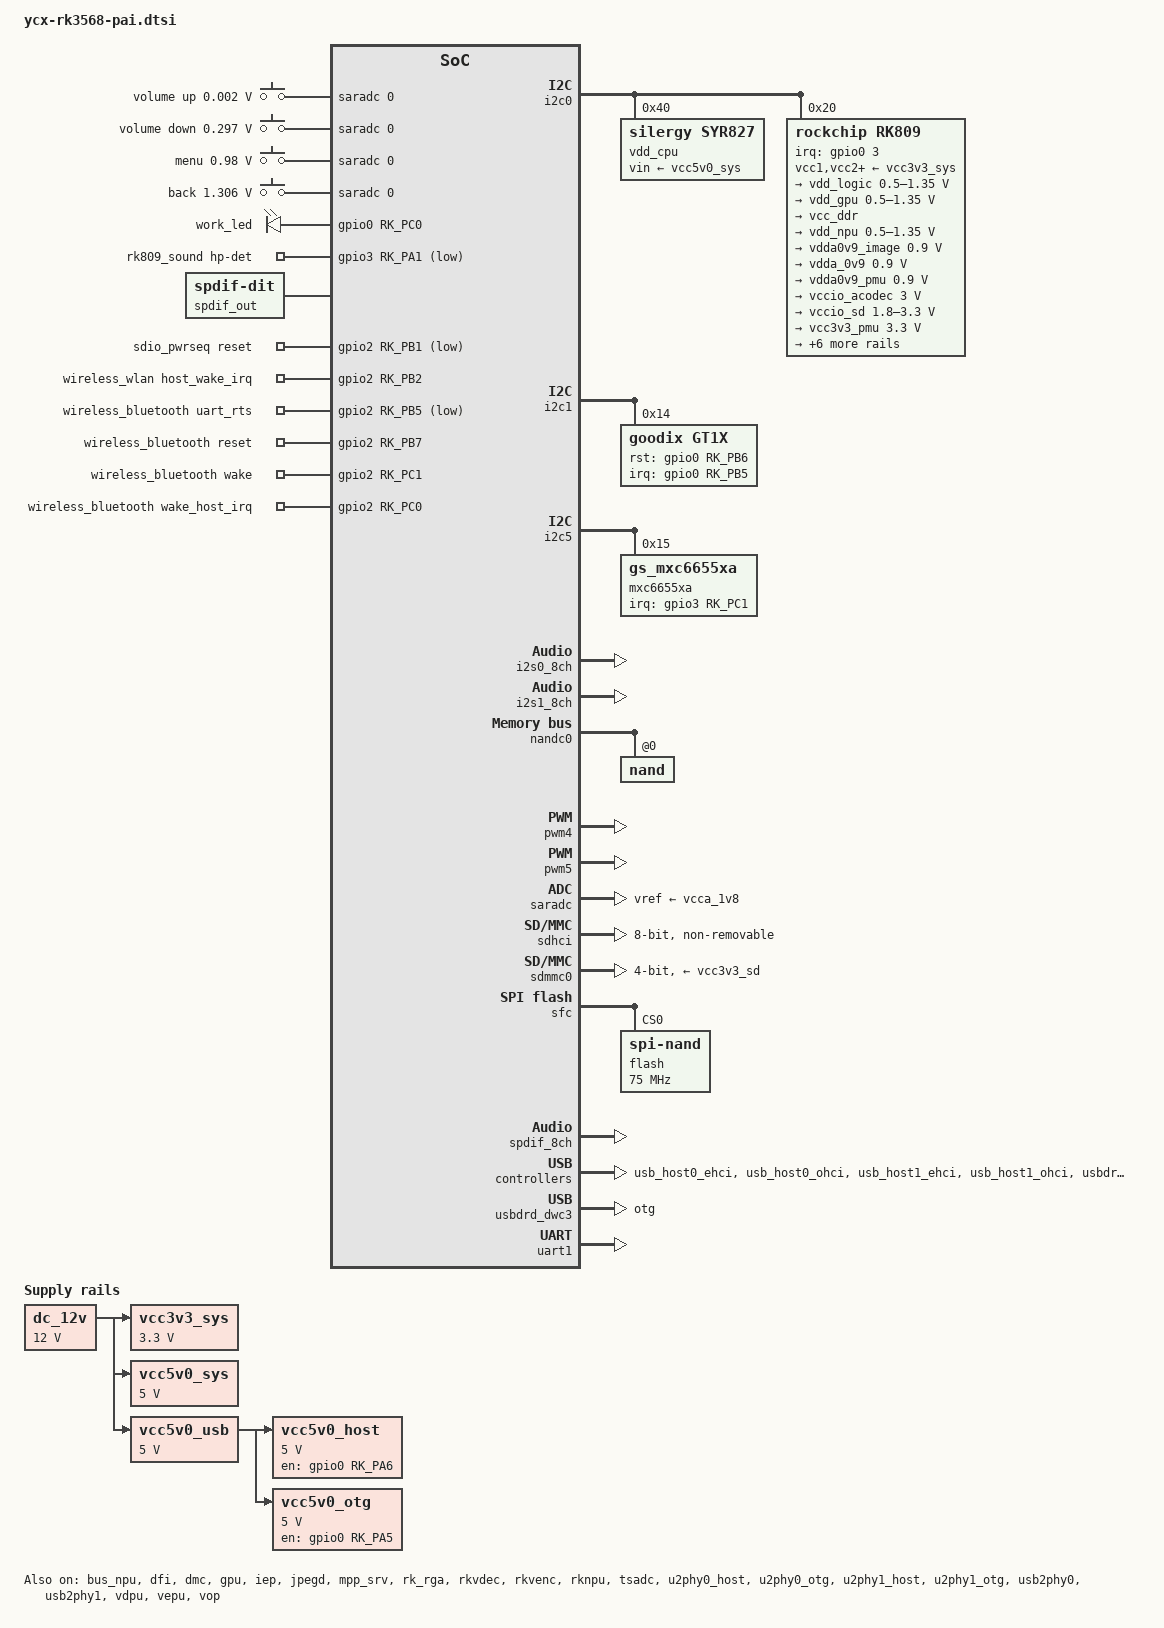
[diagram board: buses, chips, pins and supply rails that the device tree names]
// SPDX-License-Identifier: (GPL-2.0+ OR MIT)
/*
 * Copyright (c) 2020 Rockchip Electronics Co., Ltd.
 *
 */

#include <dt-bindings/gpio/gpio.h>
#include <dt-bindings/pwm/pwm.h>
#include <dt-bindings/pinctrl/rockchip.h>
#include <dt-bindings/input/rk-input.h>
#include <dt-bindings/display/drm_mipi_dsi.h>
#include <dt-bindings/sensor-dev.h>

/ {

	adc_keys: adc-keys {
		compatible = "adc-keys";
		io-channels = <&saradc 0>;
		io-channel-names = "buttons";
		keyup-threshold-microvolt = <1800000>;
		poll-interval = <100>;

		vol-up-key {
			label = "volume up";
			linux,code = <KEY_VOLUMEUP>;
			press-threshold-microvolt = <1750>;
		};

		vol-down-key {
			label = "volume down";
			linux,code = <KEY_VOLUMEDOWN>;
			press-threshold-microvolt = <297500>;
		};

		menu-key {
			label = "menu";
			linux,code = <KEY_MENU>;
			press-threshold-microvolt = <980000>;
		};

		back-key {
			label = "back";
			linux,code = <KEY_BACK>;
			press-threshold-microvolt = <1305500>;
		};
	};

	audiopwmout_diff: audiopwmout-diff {
		status = "disabled";
		compatible = "simple-audio-card";
		simple-audio-card,format = "i2s";
		simple-audio-card,name = "rockchip,audiopwmout-diff";
		simple-audio-card,mclk-fs = <256>;
		simple-audio-card,bitclock-master = <&master>;
		simple-audio-card,frame-master = <&master>;
		simple-audio-card,cpu {
			sound-dai = <&i2s3_2ch>;
		};
		master: simple-audio-card,codec {
			sound-dai = <&dig_acodec>;
		};
	};

	bt_sco: bt-sco {
		status = "disabled";
		compatible = "delta,dfbmcs320";
		#sound-dai-cells = <1>;
	};

	bt_sound: bt-sound {
		status = "disabled";
		compatible = "simple-audio-card";
		simple-audio-card,format = "dsp_a";
		simple-audio-card,bitclock-inversion;
		simple-audio-card,mclk-fs = <256>;
		simple-audio-card,name = "rockchip,bt";
		simple-audio-card,cpu {
			sound-dai = <&i2s3_2ch>;
		};
		simple-audio-card,codec {
			sound-dai = <&bt_sco 1>;
		};
	};

	dc_12v: dc-12v {
		compatible = "regulator-fixed";
		regulator-name = "dc_12v";
		regulator-always-on;
		regulator-boot-on;
		regulator-min-microvolt = <12000000>;
		regulator-max-microvolt = <12000000>;
	};

	hdmi_sound: hdmi-sound {
		compatible = "simple-audio-card";
		simple-audio-card,format = "i2s";
		simple-audio-card,mclk-fs = <128>;
		simple-audio-card,name = "rockchip,hdmi";
		status = "disabled";

		simple-audio-card,cpu {
				sound-dai = <&i2s0_8ch>;
		};
		simple-audio-card,codec {
				sound-dai = <&hdmi>;
		};
	};

	leds: leds {
		compatible = "gpio-leds";
		work_led: work {
			gpios = <&gpio0 RK_PC0 GPIO_ACTIVE_HIGH>;
			linux,default-trigger = "heartbeat";
		};
	};

	pdmics: dummy-codec {
		status = "disabled";
		compatible = "rockchip,dummy-codec";
		#sound-dai-cells = <0>;
	};

	pdm_mic_array: pdm-mic-array {
		status = "disabled";
		compatible = "simple-audio-card";
		simple-audio-card,name = "rockchip,pdm-mic-array";
		simple-audio-card,cpu {
			sound-dai = <&pdm>;
		};
		simple-audio-card,codec {
			sound-dai = <&pdmics>;
		};
	};

	rk809_sound: rk809-sound {
		status = "okay";
		compatible = "rockchip,multicodecs-card";
		rockchip,card-name = "rockchip-rk809";
		hp-det-gpio = <&gpio3 RK_PA1 GPIO_ACTIVE_LOW>;
		rockchip,format = "i2s";
		rockchip,mclk-fs = <256>;
		rockchip,cpu = <&i2s1_8ch>;
		rockchip,codec = <&rk809_codec>;
		pinctrl-names = "default";
		pinctrl-0 = <&hp_det>;
	};

	spdif-sound {
		status = "okay";
		compatible = "simple-audio-card";
		simple-audio-card,name = "ROCKCHIP,SPDIF";
		simple-audio-card,mclk-fs = <128>;
		simple-audio-card,cpu {
				sound-dai = <&spdif_8ch>;
		};
		simple-audio-card,codec {
				sound-dai = <&spdif_out>;
		};
	};

	spdif_out: spdif-out {
			status = "okay";
			compatible = "linux,spdif-dit";
			#sound-dai-cells = <0>;
	};

	vad_sound: vad-sound {
		status = "disabled";
		compatible = "rockchip,multicodecs-card";
		rockchip,card-name = "rockchip,rk3568-vad";
		rockchip,cpu = <&i2s1_8ch>;
		rockchip,codec = <&rk809_codec>, <&vad>;
	};

	vcc3v3_sys: vcc3v3-sys {
		compatible = "regulator-fixed";
		regulator-name = "vcc3v3_sys";
		regulator-always-on;
		regulator-boot-on;
		regulator-min-microvolt = <3300000>;
		regulator-max-microvolt = <3300000>;
		vin-supply = <&dc_12v>;
	};

	vcc5v0_sys: vcc5v0-sys {
		compatible = "regulator-fixed";
		regulator-name = "vcc5v0_sys";
		regulator-always-on;
		regulator-boot-on;
		regulator-min-microvolt = <5000000>;
		regulator-max-microvolt = <5000000>;
		vin-supply = <&dc_12v>;
	};

	vcc5v0_usb: vcc5v0-usb {
		compatible = "regulator-fixed";
		regulator-name = "vcc5v0_usb";
		regulator-always-on;
		regulator-boot-on;
		regulator-min-microvolt = <5000000>;
		regulator-max-microvolt = <5000000>;
		vin-supply = <&dc_12v>;
	};

	vcc5v0_host: vcc5v0-host-regulator {
		compatible = "regulator-fixed";
		regulator-name = "vcc5v0_host";
		regulator-boot-on;
		regulator-always-on;
		regulator-min-microvolt = <5000000>;
		regulator-max-microvolt = <5000000>;
		enable-active-high;
		gpio = <&gpio0 RK_PA6 GPIO_ACTIVE_HIGH>;
		vin-supply = <&vcc5v0_usb>;
		pinctrl-names = "default";
		pinctrl-0 = <&vcc5v0_host_en>;
	};

	vcc5v0_otg: vcc5v0-otg-regulator {
		compatible = "regulator-fixed";
		regulator-name = "vcc5v0_otg";
		regulator-min-microvolt = <5000000>;
		regulator-max-microvolt = <5000000>;
		enable-active-high;
		gpio = <&gpio0 RK_PA5 GPIO_ACTIVE_HIGH>;
		vin-supply = <&vcc5v0_usb>;
		pinctrl-names = "default";
		pinctrl-0 = <&vcc5v0_otg_en>;
	};

	sdio_pwrseq: sdio-pwrseq {
		compatible = "mmc-pwrseq-simple";
		//clocks = <&rk809 1>;
		clocks = <&pmucru CLK_RTC_32K>;
		clock-names = "ext_clock";
		pinctrl-names = "default";
		pinctrl-0 = <&wifi_enable_h>;

		/*
		 * On the module itself this is one of these (depending
		 * on the actual card populated):
		 * - SDIO_RESET_L_WL_REG_ON
		 * - PDN (power down when low)
		 */
		post-power-on-delay-ms = <200>;
		reset-gpios = <&gpio2 RK_PB1 GPIO_ACTIVE_LOW>;
	};

	wireless_wlan: wireless-wlan {
		compatible = "wlan-platdata";
		pinctrl-names = "default";
		pinctrl-0 = <&wifi_host_wake_irq>;
		WIFI,host_wake_irq = <&gpio2 RK_PB2 GPIO_ACTIVE_HIGH>;
		rockchip,grf = <&grf>;
		wifi_chip_type = "ap6611s";
		status = "okay";
	};

	wireless_bluetooth: wireless-bluetooth {
		compatible = "bluetooth-platdata";
		clocks = <&rk809 1>;
		clock-names = "ext_clock";
		//wifi-bt-power-toggle;
		uart_rts_gpios = <&gpio2 RK_PB5 GPIO_ACTIVE_LOW>;
		pinctrl-names = "default", "rts_gpio";
		pinctrl-0 = <&uart1m0_rtsn>;
		pinctrl-1 = <&uart1_gpios>;
		BT,reset_gpio    = <&gpio2 RK_PB7 GPIO_ACTIVE_HIGH>;
		BT,wake_gpio     = <&gpio2 RK_PC1 GPIO_ACTIVE_HIGH>;
		BT,wake_host_irq = <&gpio2 RK_PC0 GPIO_ACTIVE_HIGH>;
		status = "okay";
	};

	test-power {
		status = "okay";
	};
};

&bus_npu {
	bus-supply = <&vdd_logic>;
	pvtm-supply = <&vdd_cpu>;
	status = "okay";
};

&cpu0 {
	cpu-supply = <&vdd_cpu>;
};

&dfi {
	status = "okay";
};

&dmc {
	center-supply = <&vdd_logic>;
	status = "okay";
};

&gpu {
	mali-supply = <&vdd_gpu>;
	status = "okay";
};

&i2c0 {
	status = "okay";

	vdd_cpu: syr837@40 {
		compatible = "silergy,syr827";
		reg = <0x40>;
		vin-supply = <&vcc5v0_sys>;
		regulator-compatible = "fan53555-reg";
		//pinctrl-0 = <&vsel1_gpio>;
		//vsel-gpios = <&gpio1 17 GPIO_ACTIVE_HIGH>;
		regulator-name = "vdd_cpu";
		regulator-min-microvolt = <712500>;
		regulator-max-microvolt = <1500000>;
		regulator-ramp-delay = <1000>;
		fcs,suspend-voltage-selector = <1>;
		regulator-always-on;
		regulator-initial-state = <3>;
		regulator-state-mem {
				regulator-off-in-suspend;
		};
	};
	
	rk809: pmic@20 {
		compatible = "rockchip,rk809";
		reg = <0x20>;
		interrupt-parent = <&gpio0>;
		interrupts = <3 IRQ_TYPE_LEVEL_LOW>;

		pinctrl-names = "default", "pmic-sleep",
				"pmic-power-off", "pmic-reset";
		pinctrl-0 = <&pmic_int>;
		pinctrl-1 = <&soc_slppin_slp>, <&rk817_slppin_slp>;
		pinctrl-2 = <&soc_slppin_gpio>, <&rk817_slppin_pwrdn>;
		pinctrl-3 = <&soc_slppin_gpio>, <&rk817_slppin_rst>;

		rockchip,system-power-controller;
		wakeup-source;
		#clock-cells = <1>;
		clock-output-names = "rk808-clkout1", "rk808-clkout2";
		//fb-inner-reg-idxs = <2>;
		/* 1: rst regs (default in codes), 0: rst the pmic */
		pmic-reset-func = <0>;
		/* not save the PMIC_POWER_EN register in uboot */
		not-save-power-en = <1>;

		vcc1-supply = <&vcc3v3_sys>;
		vcc2-supply = <&vcc3v3_sys>;
		vcc3-supply = <&vcc3v3_sys>;
		vcc4-supply = <&vcc3v3_sys>;
		vcc5-supply = <&vcc3v3_sys>;
		vcc6-supply = <&vcc3v3_sys>;
		vcc7-supply = <&vcc3v3_sys>;
		vcc8-supply = <&vcc3v3_sys>;
		vcc9-supply = <&vcc3v3_sys>;

		pwrkey {
			status = "okay";
		};

		pinctrl_rk8xx: pinctrl_rk8xx {
			gpio-controller;
			#gpio-cells = <2>;

			rk817_slppin_null: rk817_slppin_null {
				pins = "gpio_slp";
				function = "pin_fun0";
			};

			rk817_slppin_slp: rk817_slppin_slp {
				pins = "gpio_slp";
				function = "pin_fun1";
			};

			rk817_slppin_pwrdn: rk817_slppin_pwrdn {
				pins = "gpio_slp";
				function = "pin_fun2";
			};

			rk817_slppin_rst: rk817_slppin_rst {
				pins = "gpio_slp";
				function = "pin_fun3";
			};
		};

		regulators {
			vdd_logic: DCDC_REG1 {
				regulator-always-on;
				regulator-boot-on;
				regulator-min-microvolt = <500000>;
				regulator-max-microvolt = <1350000>;
				regulator-init-microvolt = <900000>;
				regulator-ramp-delay = <6001>;
				regulator-initial-mode = <0x2>;
				regulator-name = "vdd_logic";
				regulator-state-mem {
					regulator-off-in-suspend;
				};
			};

			vdd_gpu: DCDC_REG2 {
				regulator-always-on;
				regulator-boot-on;
				regulator-min-microvolt = <500000>;
				regulator-max-microvolt = <1350000>;
				regulator-init-microvolt = <900000>;
				regulator-ramp-delay = <6001>;
				regulator-initial-mode = <0x2>;
				regulator-name = "vdd_gpu";
				regulator-state-mem {
					regulator-off-in-suspend;
				};
			};

			vcc_ddr: DCDC_REG3 {
				regulator-always-on;
				regulator-boot-on;
				regulator-initial-mode = <0x2>;
				regulator-name = "vcc_ddr";
				regulator-state-mem {
					regulator-on-in-suspend;
				};
			};

			vdd_npu: DCDC_REG4 {
				regulator-always-on;
				regulator-boot-on;
				regulator-min-microvolt = <500000>;
				regulator-max-microvolt = <1350000>;
				regulator-init-microvolt = <900000>;
				regulator-ramp-delay = <6001>;
				regulator-initial-mode = <0x2>;
				regulator-name = "vdd_npu";
				regulator-state-mem {
					regulator-off-in-suspend;
				};
			};

			vdda0v9_image: LDO_REG1 {
				regulator-boot-on;
				regulator-always-on;
				regulator-min-microvolt = <900000>;
				regulator-max-microvolt = <900000>;
				regulator-name = "vdda0v9_image";
				regulator-state-mem {
					regulator-off-in-suspend;
				};
			};

			vdda_0v9: LDO_REG2 {
				regulator-always-on;
				regulator-boot-on;
				regulator-min-microvolt = <900000>;
				regulator-max-microvolt = <900000>;
				regulator-name = "vdda_0v9";
				regulator-state-mem {
					regulator-off-in-suspend;
				};
			};

			vdda0v9_pmu: LDO_REG3 {
				regulator-always-on;
				regulator-boot-on;
				regulator-min-microvolt = <900000>;
				regulator-max-microvolt = <900000>;
				regulator-name = "vdda0v9_pmu";
				regulator-state-mem {
					regulator-on-in-suspend;
					regulator-suspend-microvolt = <900000>;
				};
			};

			vccio_acodec: LDO_REG4 {
				regulator-always-on;
				regulator-boot-on;
				regulator-min-microvolt = <3000000>;
				regulator-max-microvolt = <3000000>;
				regulator-name = "vccio_acodec";
				regulator-state-mem {
					regulator-off-in-suspend;
				};
			};

			vccio_sd: LDO_REG5 {
				regulator-always-on;
				regulator-boot-on;
				regulator-min-microvolt = <1800000>;
				regulator-max-microvolt = <3300000>;
				regulator-name = "vccio_sd";
				regulator-state-mem {
					regulator-off-in-suspend;
				};
			};

			vcc3v3_pmu: LDO_REG6 {
				regulator-always-on;
				regulator-boot-on;
				regulator-min-microvolt = <3300000>;
				regulator-max-microvolt = <3300000>;
				regulator-name = "vcc3v3_pmu";
				regulator-state-mem {
					regulator-on-in-suspend;
					regulator-suspend-microvolt = <3300000>;
				};
			};

			vcca_1v8: LDO_REG7 {
				regulator-always-on;
				regulator-boot-on;
				regulator-min-microvolt = <1800000>;
				regulator-max-microvolt = <1800000>;
				regulator-name = "vcca_1v8";
				regulator-state-mem {
					regulator-off-in-suspend;
				};
			};

			vcca1v8_pmu: LDO_REG8 {
				regulator-always-on;
				regulator-boot-on;
				regulator-min-microvolt = <1800000>;
				regulator-max-microvolt = <1800000>;
				regulator-name = "vcca1v8_pmu";
				regulator-state-mem {
					regulator-on-in-suspend;
					regulator-suspend-microvolt = <1800000>;
				};
			};

			vcca1v8_image: LDO_REG9 {
				regulator-always-on;
				regulator-boot-on;
				regulator-min-microvolt = <1800000>;
				regulator-max-microvolt = <1800000>;
				regulator-name = "vcca1v8_image";
				regulator-state-mem {
					regulator-off-in-suspend;
				};
			};

			vcc_1v8: DCDC_REG5 {
				regulator-always-on;
				regulator-boot-on;
				regulator-min-microvolt = <1800000>;
				regulator-max-microvolt = <1800000>;
				regulator-name = "vcc_1v8";
				regulator-state-mem {
					regulator-off-in-suspend;
				};
			};

			vcc_3v3: SWITCH_REG1 {
				regulator-always-on;
				regulator-boot-on;
				regulator-name = "vcc_3v3";
				regulator-state-mem {
					regulator-off-in-suspend;
				};
			};

			vcc3v3_sd: SWITCH_REG2 {
				regulator-always-on;
				regulator-boot-on;
				regulator-name = "vcc3v3_sd";
				regulator-state-mem {
					regulator-off-in-suspend;
				};
			};
		};

		rk809_codec: codec {
			#sound-dai-cells = <1>;
			compatible = "rockchip,rk809-codec", "rockchip,rk817-codec";
			clocks = <&cru I2S1_MCLKOUT>;
			clock-names = "mclk";
			assigned-clocks = <&cru I2S1_MCLKOUT>, <&cru I2S1_MCLK_TX_IOE>;
			assigned-clock-rates = <12288000>;
			assigned-clock-parents = <&cru I2S1_MCLKOUT_TX>, <&cru I2S1_MCLKOUT_TX>;
			pinctrl-names = "default";
			pinctrl-0 = <&i2s1m0_mclk>;
			hp-volume = <20>;
			spk-volume = <3>;
			use-ext-amplifier;
			mic-in-differential;
			status = "okay";
		};
	};
};

&i2c1 {
	status = "okay";

	gt1x: gt1x@14 {
		compatible = "goodix,gt1x";
		reg = <0x14>;
		pinctrl-names = "default";
		pinctrl-0 = <&touch_gpio>;
		goodix,rst-gpio = <&gpio0 RK_PB6 GPIO_ACTIVE_HIGH>;
		goodix,irq-gpio = <&gpio0 RK_PB5 IRQ_TYPE_LEVEL_LOW>;
	};
};

&i2c5 {
	status = "okay";

	mxc6655xa: mxc6655xa@15 {
		status = "okay";
		compatible = "gs_mxc6655xa";
		pinctrl-names = "default";
		pinctrl-0 = <&mxc6655xa_irq_gpio>;
		reg = <0x15>;
		irq-gpio = <&gpio3 RK_PC1 IRQ_TYPE_LEVEL_LOW>;
		irq_enable = <0>;
		poll_delay_ms = <30>;
		type = <SENSOR_TYPE_ACCEL>;
		power-off-in-suspend = <1>;
		layout = <1>;
	};
};

&i2s0_8ch {
	status = "okay";
};

&i2s1_8ch {
	status = "okay";
	rockchip,clk-trcm = <1>;
	pinctrl-names = "default";
	pinctrl-0 = <&i2s1m0_sclktx
		     &i2s1m0_lrcktx
		     &i2s1m0_sdi0
		     &i2s1m0_sdo0>;
};

&i2s3_2ch {
	pinctrl-0 = <&i2s3m0_sclk &i2s3m0_lrck &i2s3m0_sdi &i2s3m0_sdo>;
	rockchip,bclk-fs = <32>;
	status = "disabled";
};

&iep {
	status = "okay";
};

&iep_mmu {
	status = "okay";
};

&jpegd {
	status = "okay";
};

&jpegd_mmu {
	status = "okay";
};

&mpp_srv {
	status = "okay";
};

&nandc0 {
	#address-cells = <1>;
	#size-cells = <0>;
	status = "okay";

	nand@0 {
		reg = <0>;
		nand-bus-width = <8>;
		nand-ecc-mode = "hw";
		nand-ecc-strength = <16>;
		nand-ecc-step-size = <1024>;
	};
};

&pinctrl {

	headphone {
		hp_det: hp-det {
			rockchip,pins = <3 RK_PA1 RK_FUNC_GPIO &pcfg_pull_down>;
		};
	};

	mxc6655xa {
		mxc6655xa_irq_gpio: mxc6655xa_irq_gpio {
			rockchip,pins = <3 RK_PC1 RK_FUNC_GPIO &pcfg_pull_none>;
		};
	};

	pmic {
		pmic_int: pmic_int {
			rockchip,pins =
				<0 RK_PA3 RK_FUNC_GPIO &pcfg_pull_up>;
		};

		soc_slppin_gpio: soc_slppin_gpio {
			rockchip,pins =
				<0 RK_PA2 RK_FUNC_GPIO &pcfg_output_low>;
		};

		soc_slppin_slp: soc_slppin_slp {
			rockchip,pins =
				<0 RK_PA2 1 &pcfg_pull_none>;
		};

		soc_slppin_rst: soc_slppin_rst {
			rockchip,pins =
				<0 RK_PA2 2 &pcfg_pull_none>;
		};
	};

	touch {
		touch_gpio: touch-gpio {
			rockchip,pins =
				<0 RK_PB5 RK_FUNC_GPIO &pcfg_pull_up>,
				<0 RK_PB6 RK_FUNC_GPIO &pcfg_pull_none>;
		};
	};

	usb {
		vcc5v0_host_en: vcc5v0-host-en {
			rockchip,pins = <0 RK_PA6 RK_FUNC_GPIO &pcfg_pull_none>;
		};

		vcc5v0_otg_en: vcc5v0-otg-en {
			rockchip,pins = <0 RK_PA5 RK_FUNC_GPIO &pcfg_pull_none>;
		};
	};
	
	sdio-pwrseq {
		wifi_enable_h: wifi-enable-h {
			rockchip,pins = <2 RK_PB1 RK_FUNC_GPIO &pcfg_pull_none>;
		};
	};
	
	wireless-wlan {
		wifi_host_wake_irq: wifi-host-wake-irq {
			rockchip,pins = <2 RK_PB2 RK_FUNC_GPIO &pcfg_pull_down>;
		};
	};
	
	wireless-bluetooth {
		uart1_gpios: uart1-gpios {
			rockchip,pins = <2 RK_PB5 RK_FUNC_GPIO &pcfg_pull_none>;
		};
	};
};

 /*
  * There are 10 independent IO domains in RK3566/RK3568, including PMUIO[0:2] and VCCIO[1:7].
  * 1/ PMUIO0 and PMUIO1 are fixed-level power domains which cannot be configured;
  * 2/ PMUIO2 and VCCIO1,VCCIO[3:7] domains require that their hardware power supply voltages
  *    must be consistent with the software configuration correspondingly
  *	a/ When the hardware IO level is connected to 1.8V, the software voltage configuration
  *	   should also be configured to 1.8V accordingly;
  *	b/ When the hardware IO level is connected to 3.3V, the software voltage configuration
  *	   should also be configured to 3.3V accordingly;
  * 3/ VCCIO2 voltage control selection (0xFDC20140)
  *	BIT[0]: 0x0: from GPIO_0A7 (default)
  *	BIT[0]: 0x1: from GRF
  *    Default is determined by Pin FLASH_VOL_SEL/GPIO0_A7:
  *	L:VCCIO2 must supply 3.3V
  *	H:VCCIO2 must supply 1.8V
  */
&pmu_io_domains {
	status = "okay";
	pmuio2-supply = <&vcc3v3_pmu>;
	vccio1-supply = <&vccio_acodec>;
	vccio3-supply = <&vccio_sd>;
	vccio4-supply = <&vcc_1v8>;
	vccio5-supply = <&vcc_3v3>;
	vccio6-supply = <&vcc_1v8>;
	vccio7-supply = <&vcc_3v3>;
};

&pwm4 {
	status = "okay";
};

&pwm5 {
	status = "okay";
};

&pwm7 {
	status = "disabled";
};

&rk_rga {
	status = "okay";
};

&rkvdec {
	status = "okay";
};

&rkvdec_mmu {
	status = "okay";
};

&rkvenc {
	venc-supply = <&vdd_logic>;
	status = "okay";
};

&rkvenc_mmu {
	status = "okay";
};

&rknpu {
	rknpu-supply = <&vdd_npu>;
	status = "okay";
};

&rknpu_mmu {
	status = "okay";
};

&saradc {
	status = "okay";
	vref-supply = <&vcca_1v8>;
};

&sdhci {
	bus-width = <8>;
	supports-emmc;
	non-removable;
	max-frequency = <200000000>;
	status = "okay";
};

&sdmmc0 {
	max-frequency = <150000000>;
	supports-sd;
	bus-width = <4>;
	cap-mmc-highspeed;
	cap-sd-highspeed;
	disable-wp;
	sd-uhs-sdr104;
	vmmc-supply = <&vcc3v3_sd>;
	vqmmc-supply = <&vccio_sd>;
	pinctrl-names = "default";
	pinctrl-0 = <&sdmmc0_bus4 &sdmmc0_clk &sdmmc0_cmd &sdmmc0_det>;
	status = "okay";
};

&sfc {
	status = "okay";

	flash@0 {
		compatible = "spi-nand";
		reg = <0>;
		spi-max-frequency = <75000000>;
		spi-rx-bus-width = <4>;
		spi-tx-bus-width = <1>;
	};
};

&spdif_8ch {
	status = "okay";
};

&tsadc {
	status = "okay";
};

&u2phy0_host {
	phy-supply = <&vcc5v0_host>;
	status = "okay";
};

&u2phy0_otg {
	vbus-supply = <&vcc5v0_otg>;
	status = "okay";
};

&u2phy1_host {
	phy-supply = <&vcc5v0_host>;
	status = "okay";
};

&u2phy1_otg {
	phy-supply = <&vcc5v0_host>;
	status = "okay";
};

&usb2phy0 {
	status = "okay";
};

&usb2phy1 {
	status = "okay";
};

&usb_host0_ehci {
	status = "okay";
};

&usb_host0_ohci {
	status = "okay";
};

&usb_host1_ehci {
	status = "okay";
};

&usb_host1_ohci {
	status = "okay";
};

&usbdrd_dwc3 {
	dr_mode = "otg";
	extcon = <&usb2phy0>;
	status = "okay";
};

&usbdrd30 {
	status = "okay";
};

&usbhost_dwc3 {
	status = "okay";
};

&usbhost30 {
	status = "okay";
};

&vad {
	rockchip,audio-src = <&i2s1_8ch>;
	rockchip,buffer-time-ms = <128>;
	rockchip,det-channel = <0>;
	rockchip,mode = <0>;
};

&vdpu {
	status = "okay";
};

&vdpu_mmu {
	status = "okay";
};

&vepu {
	status = "okay";
};

&vepu_mmu {
	status = "okay";
};

&vop {
	status = "okay";
	assigned-clocks = <&cru DCLK_VOP0>, <&cru DCLK_VOP1>, <&cru DCLK_VOP2>;
	assigned-clock-parents = <&pmucru PLL_HPLL>, <&cru PLL_VPLL>, <&cru PLL_GPLL>;
};

&vop_mmu {
	status = "okay";
};

&uart1 {
	status = "okay";
	pinctrl-names = "default";
	pinctrl-0 = <&uart1m0_xfer &uart1m0_ctsn>;
};
